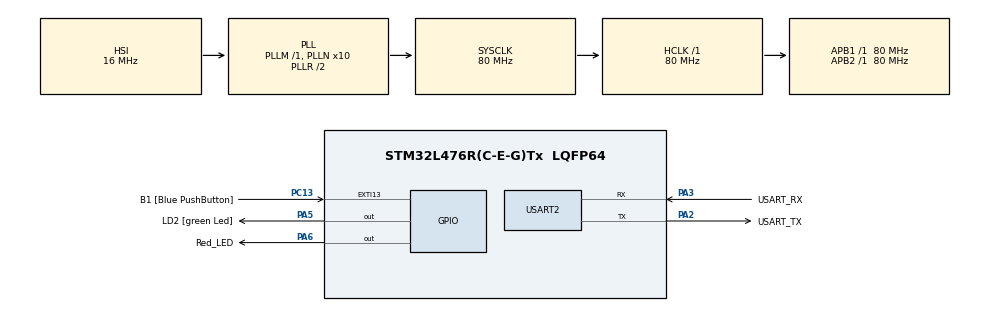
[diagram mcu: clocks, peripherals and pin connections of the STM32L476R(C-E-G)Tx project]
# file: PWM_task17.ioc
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Mcu.Family=STM32L4
Mcu.Name=STM32L476R(C-E-G)Tx
Mcu.Package=LQFP64
NVIC.PriorityGroup=NVIC_PRIORITYGROUP_4
NVIC.TIM4_IRQn=true\:0\:0\:false\:false\:true\:true\:true\:true
PA13\ (JTMS-SWDIO).GPIO_Label=TMS
PA13\ (JTMS-SWDIO).Mode=Serial_Wire
PA13\ (JTMS-SWDIO).Signal=SYS_JTMS-SWDIO
PA14\ (JTCK-SWCLK).GPIO_Label=TCK
PA14\ (JTCK-SWCLK).Mode=Serial_Wire
PA14\ (JTCK-SWCLK).Signal=SYS_JTCK-SWCLK
PA2.GPIO_Label=USART_TX
PA2.GPIO_Mode=GPIO_MODE_AF_PP
PA2.GPIO_PuPd=GPIO_NOPULL
PA2.GPIO_Speed=GPIO_SPEED_FREQ_VERY_HIGH
PA2.Mode=Asynchronous
PA2.Signal=USART2_TX
PA3.GPIO_Label=USART_RX
PA3.GPIO_Mode=GPIO_MODE_AF_PP
PA3.GPIO_PuPd=GPIO_NOPULL
PA3.GPIO_Speed=GPIO_SPEED_FREQ_VERY_HIGH
PA3.Mode=Asynchronous
PA3.Signal=USART2_RX
PA5.GPIO_Label=LD2 [green Led]
PA5.GPIO_ModeDefaultOutputPP=GPIO_MODE_OUTPUT_PP
PA5.GPIO_PuPd=GPIO_NOPULL
PA5.GPIO_Speed=GPIO_SPEED_FREQ_LOW
PA5.Signal=GPIO_Output
PA6.GPIO_Label=Red_LED
PA6.Signal=GPIO_Output
PB3\ (JTDO-TRACESWO).GPIO_Label=SWO
PB3\ (JTDO-TRACESWO).Signal=SYS_JTDO-SWO
PC13.GPIO_Label=B1 [Blue PushButton]
PC13.GPIO_ModeDefaultEXTI=GPIO_MODE_IT_FALLING
PC13.GPIO_PuPd=GPIO_NOPULL
PC13.Signal=GPXTI13
PC14-OSC32_IN\ (PC14).Mode=LSE-External-Oscillator
PC14-OSC32_IN\ (PC14).Signal=RCC_OSC32_IN
PC15-OSC32_OUT\ (PC15).Mode=LSE-External-Oscillator
PC15-OSC32_OUT\ (PC15).Signal=RCC_OSC32_OUT
PH0-OSC_IN\ (PH0).Signal=RCC_OSC_IN
PH1-OSC_OUT\ (PH1).Signal=RCC_OSC_OUT
ProjectManager.HeapSize=0x200
ProjectManager.StackSize=0x400
ProjectManager.TargetToolchain=STM32CubeIDE
RCC.ADCFreq_Value=64000000
RCC.AHBFreq_Value=80000000
RCC.APB1Freq_Value=80000000
RCC.APB1TimFreq_Value=80000000
RCC.APB2Freq_Value=80000000
RCC.APB2TimFreq_Value=80000000
RCC.CortexFreq_Value=80000000
RCC.HCLKFreq_Value=80000000
RCC.HSE_VALUE=8000000
RCC.HSI_VALUE=16000000
RCC.MSI_VALUE=4000000
RCC.PLLN=10
RCC.PLLSourceVirtual=RCC_PLLSOURCE_HSI
RCC.PREFETCH_ENABLE=1
RCC.SYSCLKFreq_VALUE=80000000
RCC.SYSCLKSource=RCC_SYSCLKSOURCE_PLLCLK
RCC.USBFreq_Value=64000000
RCC.VCOOutputFreq_Value=160000000
TIM4.Channel-PWM\ Generation1\ No\ Output=TIM_CHANNEL_1
TIM4.Period=100
TIM4.Prescaler=7999
TIM4.Pulse-PWM\ Generation1\ No\ Output=30
USART2.VirtualMode-Asynchronous=VM_ASYNC
VP_TIM4_VS_ClockSourceINT.Mode=Internal
VP_TIM4_VS_no_output1.Mode=PWM Generation1 No Output
board=NUCLEO-L476RG

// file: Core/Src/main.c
/* USER CODE BEGIN Header */
/**
  ******************************************************************************
  * @file           : main.c
  * @brief          : Main program body
  ******************************************************************************
  * @attention
  *
  * Copyright (c) 2022 STMicroelectronics.
  * All rights reserved.
  *
  * This software is licensed under terms that can be found in the LICENSE file
  * in the root directory of this software component.
  * If no LICENSE file comes with this software, it is provided AS-IS.
  *
  ******************************************************************************
  */
/* USER CODE END Header */
#include "main.h"

 TIM_HandleTypeDef htim4;

UART_HandleTypeDef huart2;

void SystemClock_Config(void);
static void MX_GPIO_Init(void);
static void MX_USART2_UART_Init(void);
static void MX_TIM4_Init(void);
/* USER CODE BEGIN PFP */
#define PUTCHAR_PROTOTYPE int __io_putchar(int ch)

/* USER CODE END PFP */

/* USER CODE BEGIN 0 */

#define MAX_BUFFER_LENGTH 100
uint8_t isBrightness = 0;
uint8_t brightnessCounter = 0;
uint8_t cmdbuffer[MAX_BUFFER_LENGTH];
int cmdcount = 0;
//extern int currBrightness;

int commTask()
{
	uint8_t ch;

	HAL_StatusTypeDef Status = HAL_UART_Receive(&huart2, &ch, 1, 0);
	if (Status != HAL_OK) {
		return 0;
	}

	if (ch != '\r' && ch != '\n')
	{
		HAL_UART_Transmit(&huart2, &ch, 1, 0xFFFF);

		if (cmdcount >= MAX_BUFFER_LENGTH)
		{
			cmdcount = 0;
		}

		cmdbuffer[cmdcount++] = ch;
		return 0;
	}

	HAL_UART_Transmit(&huart2, (uint8_t*)"\r\n", 2, 0xFFFF);

	cmdbuffer[cmdcount] = 0;
	cmdcount = 0;
	return 1;
}

void handleCommand()
{
  char delim[2] = " ";
  char* res = strtok(cmdbuffer, delim);

  if(res == NULL)
  {
	  return;
  }

  while(res != NULL)
  {
	  if (strcmp(res, "full") == 0)
	  {
		  isBrightness = 0;
		  while(res != NULL)
		  {
				 // stateOn();
				  return;
		  }
	  }
	  else if (strcmp(res, "off") == 0)
	  {
		  isBrightness = 0;
		 // stateOff();
		  return;
	  }
	  else if (strcmp(res, "half") == 0)
	  {
		  isBrightness = 0;
		 // stateHalfBrightness();
		  return;
	  }

	  else if (strcmp(res, "blink") == 0)
	  {
		  isBrightness = 0;
		  //stateBlink();
		  return;
	  }
	  if (strcmp(res, "set") == 0)
	  {
		  isBrightness = 1;
		  while(res != NULL)
		  {
			  res = strtok(NULL, delim);
			  int count = atoi(res);
			  {
				  setBrightness(count);
				  return;
			  }
		  }
	  }
  }

  printf("Invalid command\r\n");

}

// Period
void HAL_TIM_PeriodElapsedCallback(TIM_HandleTypeDef * htim)
{
	HAL_GPIO_WritePin(Red_LED_GPIO_Port, Red_LED_Pin, GPIO_PIN_SET);
}

// duty cycle
void HAL_TIM_PWM_PulseFinishedCallback(TIM_HandleTypeDef *htim)
{
	HAL_GPIO_WritePin(Red_LED_GPIO_Port, Red_LED_Pin, GPIO_PIN_RESET);

}

/* USER CODE END 0 */

int main(void)
{

  /* MCU Configuration--------------------------------------------------------*/

  /* Reset of all peripherals, Initializes the Flash interface and the Systick. */
  HAL_Init();

  /* Configure the system clock */
  SystemClock_Config();

  /* Initialize all configured peripherals */
  MX_GPIO_Init();
  MX_USART2_UART_Init();
  MX_TIM4_Init();
  /* USER CODE BEGIN 2 */
  HAL_NVIC_EnableIRQ(TIM4_IRQn); // turn on interrupts
  HAL_TIM_Base_Start_IT(&htim4);// start interrupts  HAL_TIM_PeriodElapsedCallback
  HAL_TIM_PWM_Start_IT(&htim4, TIM_CHANNEL_1);//start interrupts HAL_TIM_PWM_PulseFinishedCallback

  /* USER CODE END 2 */

  /* Infinite loop */
  while (1)
  {

    /* USER CODE BEGIN 3 */
	  if(commTask())
	  {
		  handleCommand();
	  }
  }
  /* USER CODE END 3 */
}

void SystemClock_Config(void)
{
  RCC_OscInitTypeDef RCC_OscInitStruct = {0};
  RCC_ClkInitTypeDef RCC_ClkInitStruct = {0};

  /** Configure the main internal regulator output voltage
  */
  if (HAL_PWREx_ControlVoltageScaling(PWR_REGULATOR_VOLTAGE_SCALE1) != HAL_OK)
  {
    Error_Handler();
  }

  /** Initializes the RCC Oscillators according to the specified parameters
  * in the RCC_OscInitTypeDef structure.
  */
  RCC_OscInitStruct.OscillatorType = RCC_OSCILLATORTYPE_HSI;
  RCC_OscInitStruct.HSIState = RCC_HSI_ON;
  RCC_OscInitStruct.HSICalibrationValue = RCC_HSICALIBRATION_DEFAULT;
  RCC_OscInitStruct.PLL.PLLState = RCC_PLL_ON;
  RCC_OscInitStruct.PLL.PLLSource = RCC_PLLSOURCE_HSI;
  RCC_OscInitStruct.PLL.PLLM = 1;
  RCC_OscInitStruct.PLL.PLLN = 10;
  RCC_OscInitStruct.PLL.PLLP = RCC_PLLP_DIV7;
  RCC_OscInitStruct.PLL.PLLQ = RCC_PLLQ_DIV2;
  RCC_OscInitStruct.PLL.PLLR = RCC_PLLR_DIV2;
  if (HAL_RCC_OscConfig(&RCC_OscInitStruct) != HAL_OK)
  {
    Error_Handler();
  }

  /** Initializes the CPU, AHB and APB buses clocks
  */
  RCC_ClkInitStruct.ClockType = RCC_CLOCKTYPE_HCLK|RCC_CLOCKTYPE_SYSCLK
                              |RCC_CLOCKTYPE_PCLK1|RCC_CLOCKTYPE_PCLK2;
  RCC_ClkInitStruct.SYSCLKSource = RCC_SYSCLKSOURCE_PLLCLK;
  RCC_ClkInitStruct.AHBCLKDivider = RCC_SYSCLK_DIV1;
  RCC_ClkInitStruct.APB1CLKDivider = RCC_HCLK_DIV1;
  RCC_ClkInitStruct.APB2CLKDivider = RCC_HCLK_DIV1;

  if (HAL_RCC_ClockConfig(&RCC_ClkInitStruct, FLASH_LATENCY_4) != HAL_OK)
  {
    Error_Handler();
  }
}

static void MX_TIM4_Init(void)
{

  TIM_ClockConfigTypeDef sClockSourceConfig = {0};
  TIM_MasterConfigTypeDef sMasterConfig = {0};
  TIM_OC_InitTypeDef sConfigOC = {0};

  htim4.Instance = TIM4;
  htim4.Init.Prescaler = 7999;
  htim4.Init.CounterMode = TIM_COUNTERMODE_UP;
  htim4.Init.Period = 100;
  htim4.Init.ClockDivision = TIM_CLOCKDIVISION_DIV1;
  htim4.Init.AutoReloadPreload = TIM_AUTORELOAD_PRELOAD_DISABLE;
  if (HAL_TIM_Base_Init(&htim4) != HAL_OK)
  {
    Error_Handler();
  }
  sClockSourceConfig.ClockSource = TIM_CLOCKSOURCE_INTERNAL;
  if (HAL_TIM_ConfigClockSource(&htim4, &sClockSourceConfig) != HAL_OK)
  {
    Error_Handler();
  }
  if (HAL_TIM_PWM_Init(&htim4) != HAL_OK)
  {
    Error_Handler();
  }
  sMasterConfig.MasterOutputTrigger = TIM_TRGO_RESET;
  sMasterConfig.MasterSlaveMode = TIM_MASTERSLAVEMODE_DISABLE;
  if (HAL_TIMEx_MasterConfigSynchronization(&htim4, &sMasterConfig) != HAL_OK)
  {
    Error_Handler();
  }
  sConfigOC.OCMode = TIM_OCMODE_PWM1;
  sConfigOC.Pulse = 30;
  sConfigOC.OCPolarity = TIM_OCPOLARITY_HIGH;
  sConfigOC.OCFastMode = TIM_OCFAST_DISABLE;
  if (HAL_TIM_PWM_ConfigChannel(&htim4, &sConfigOC, TIM_CHANNEL_1) != HAL_OK)
  {
    Error_Handler();
  }

}

static void MX_USART2_UART_Init(void)
{

  huart2.Instance = USART2;
  huart2.Init.BaudRate = 115200;
  huart2.Init.WordLength = UART_WORDLENGTH_8B;
  huart2.Init.StopBits = UART_STOPBITS_1;
  huart2.Init.Parity = UART_PARITY_NONE;
  huart2.Init.Mode = UART_MODE_TX_RX;
  huart2.Init.HwFlowCtl = UART_HWCONTROL_NONE;
  huart2.Init.OverSampling = UART_OVERSAMPLING_16;
  huart2.Init.OneBitSampling = UART_ONE_BIT_SAMPLE_DISABLE;
  huart2.AdvancedInit.AdvFeatureInit = UART_ADVFEATURE_NO_INIT;
  if (HAL_UART_Init(&huart2) != HAL_OK)
  {
    Error_Handler();
  }

}

static void MX_GPIO_Init(void)
{
  GPIO_InitTypeDef GPIO_InitStruct = {0};

  /* GPIO Ports Clock Enable */
  __HAL_RCC_GPIOC_CLK_ENABLE();
  __HAL_RCC_GPIOH_CLK_ENABLE();
  __HAL_RCC_GPIOA_CLK_ENABLE();
  __HAL_RCC_GPIOB_CLK_ENABLE();

  /*Configure GPIO pin Output Level */
  HAL_GPIO_WritePin(GPIOA, LD2_Pin|Red_LED_Pin, GPIO_PIN_RESET);

  /*Configure GPIO pin : B1_Pin */
  GPIO_InitStruct.Pin = B1_Pin;
  GPIO_InitStruct.Mode = GPIO_MODE_IT_FALLING;
  GPIO_InitStruct.Pull = GPIO_NOPULL;
  HAL_GPIO_Init(B1_GPIO_Port, &GPIO_InitStruct);

  /*Configure GPIO pins : LD2_Pin Red_LED_Pin */
  GPIO_InitStruct.Pin = LD2_Pin|Red_LED_Pin;
  GPIO_InitStruct.Mode = GPIO_MODE_OUTPUT_PP;
  GPIO_InitStruct.Pull = GPIO_NOPULL;
  GPIO_InitStruct.Speed = GPIO_SPEED_FREQ_LOW;
  HAL_GPIO_Init(GPIOA, &GPIO_InitStruct);

}

/* USER CODE BEGIN 4 */
/**
  * @brief  Retargets the C library printf function to the USART.
  * @param  None
  * @retval None
  */
PUTCHAR_PROTOTYPE
{
  /* Place your implementation of fputc here */
  /* e.g. write a character to the USART1 and Loop until the end of transmission */
  HAL_UART_Transmit(&huart2, (uint8_t *)&ch, 1, 0xFFFF);

  return ch;
}

/* USER CODE END 4 */

void Error_Handler(void)
{
  __disable_irq();
  while (1)
  {
  }
}
